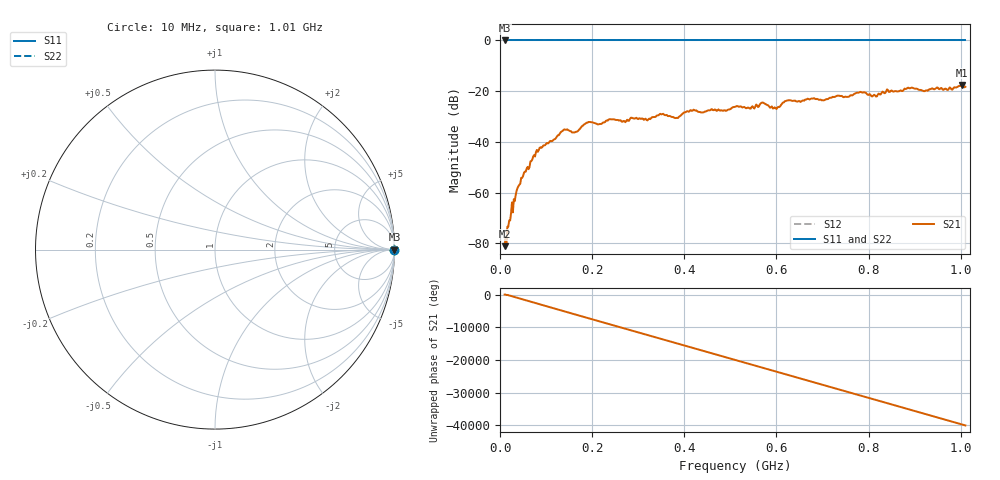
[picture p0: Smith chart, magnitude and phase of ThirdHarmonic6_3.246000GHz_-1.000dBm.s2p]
! 8/17/2025 9:58:44 AM
! C:\ANRITSUVNA\TEMP\TEMP.S2P
! CHANNEL.1
! TR.MEASUREMENT
! RAW.DATA
! RF.CORRECTION.OFF
! AVERAGING.OFF
! IF.BANDWIDTH: 5KHZ
! SWEEPTYPE:  FREQ.SWEEP(Linear)
! Reference Plane Port Info
! PORT:  PORT1  PORT2
! DISTANCE:  0  m  0  m
! TIME:  0  s  0  s
! PHASE.OFFSET:  0  deg.  0  deg.
! LOSS:  0  dB  0  dB
! REF.LOSS:  0  dB  0  dB
! REF.FREQ:  0  Hz  0  Hz
! Power Info
! POWER:  -20  dBm  -20  dBm
! EFF.POWER:  -20  dBm  -20  dBm
! SOURCE.ATTEN:  0  dB  0  dB
! TEST.ATTEN:  0  dB  0  dB
# GHZ S RI R 50.0
! FREQ.GHZ  S11RE  S11IM  S21RE  S21IM  S12RE  S12IM  S22RE  S22IM
!; PortSelection: Port_12
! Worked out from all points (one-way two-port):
!   501 points, 10 MHz to 1.01 GHz, reference 50 ohm
!   highest |S21| = -17.53 dB at 1.002 GHz (marker M1); lowest = -81.1 dB at 10 MHz (marker M2)
!   lowest |S11| = 0.0 dB at 10 MHz (marker M3)
!   |S11| at or under -10 dB: nowhere
!   |S22| runs from 0.0 to 0.0 dB; largest |S21 - S12| = 1.1
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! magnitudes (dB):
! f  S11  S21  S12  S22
! 10 MHz  0.0  -81.1  0.0  0.0
! 38 MHz  0.0  -58.2  0.0  0.0
! 76 MHz  0.0  -45.8  0.0  0.0
! 136 MHz  0.0  -35.7  0.0  0.0
! 162 MHz  0.0  -36.3  0.0  0.0
! 178 MHz  0.0  -33.8  0.0  0.0
! 192 MHz  0.0  -32.2  0.0  0.0
! 322 MHz  0.0  -31.1  0.0  0.0
! 344 MHz  0.0  -29.5  0.0  0.0
! 382 MHz  0.0  -30.6  0.0  0.0
! 416 MHz  0.0  -27.7  0.0  0.0
! 510 MHz  0.0  -26.2  0.0  0.0
! 548 MHz  0.0  -26.0  0.0  0.0
! 570 MHz  0.0  -24.5  0.0  0.0
! 596 MHz  0.0  -26.4  0.0  0.0
! 622 MHz  0.0  -23.7  0.0  0.0
! 678 MHz  0.0  -22.9  0.0  0.0
! 784 MHz  0.0  -20.4  0.0  0.0
! 814 MHz  0.0  -21.7  0.0  0.0
! 844 MHz  0.0  -20.3  0.0  0.0
! 1.002 GHz  0.0  -17.5  0.0  0.0
! 1.01 GHz  0.0  -18.3  0.0  0.0
